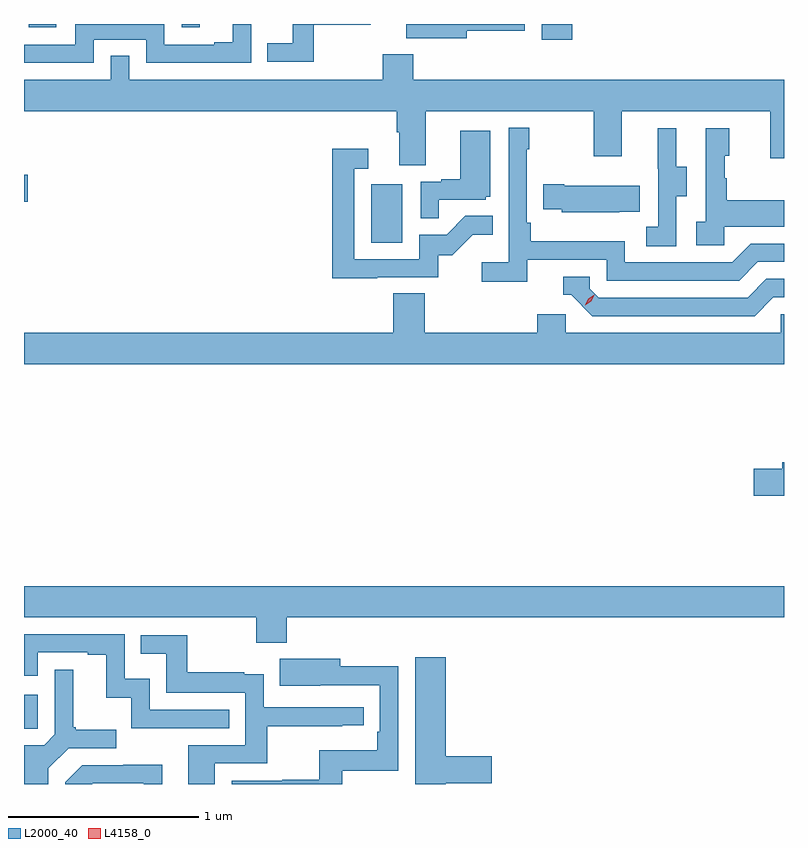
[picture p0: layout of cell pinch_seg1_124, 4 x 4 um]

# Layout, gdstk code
import gdstk
lib = gdstk.Library(unit=1e-6, precision=1e-09)
def R(c, l, rs):  # rectangles x0, y0, x1, y1
    for r in rs: c.add(gdstk.rectangle(r[:2], r[2:], *l))
def P(c, l, *ps):  # polygons
    for p in ps: c.add(gdstk.Polygon(p, *l))
L2000_40 = (2000, 40)
L4158_0 = (4158, 0)

pinch_seg1_124 = lib.new_cell('pinch_seg1_124')
R(pinch_seg1_124, L2000_40, [(1044.167,549.813,1044.24,549.993), (1045.994,552.372,1046.158,552.679), (1044.167,552.587,1044.187,552.729), (1046.891,553.44,1047.052,553.522), (1044.193,553.506,1044.337,553.522), (1044.996,553.506,1045.093,553.522)])
P(pinch_seg1_124, L2000_40, [(1046.497,553.486),(1046.802,553.486),(1046.802,553.522),(1046.179,553.522),(1046.179,553.448),(1046.497,553.448)],
  [(1044.534,553.44),(1044.81,553.44),(1044.81,553.317),(1045.362,553.317),(1045.362,553.522),(1045.265,553.522),(1045.265,553.426),(1045.169,553.426),(1045.169,553.413),(1044.906,553.413),(1044.906,553.522),(1044.438,553.522),(1044.438,553.413),(1044.167,553.413),(1044.167,553.317),(1044.534,553.317)],
  [(1045.693,553.518),(1045.991,553.518),(1045.991,553.522),(1045.582,553.522),(1045.582,553.42),(1045.447,553.42),(1045.447,553.323),(1045.693,553.323)],
  [(1046.281,553.064),(1047.166,553.064),(1047.166,552.825),(1047.313,552.825),(1047.313,553.064),(1048.094,553.064),(1048.094,552.816),(1048.167,552.816),(1048.167,553.228),(1046.216,553.228),(1046.216,553.363),(1046.055,553.363),(1046.055,553.228),(1044.72,553.228),(1044.72,553.355),(1044.624,553.355),(1044.624,553.228),(1044.167,553.228),(1044.167,553.064),(1046.129,553.064),(1046.129,552.952),(1046.141,552.952),(1046.141,552.778),(1046.281,552.778)],
  [(1046.816,552.282),(1047.234,552.282),(1047.234,552.171),(1047.931,552.171),(1048.03,552.27),(1048.167,552.27),(1048.167,552.366),(1047.993,552.366),(1047.894,552.267),(1047.33,552.267),(1047.33,552.379),(1046.834,552.379),(1046.834,552.475),(1046.814,552.475),(1046.814,552.863),(1046.827,552.863),(1046.827,552.976),(1046.718,552.976),(1046.718,552.268),(1046.577,552.268),(1046.577,552.166),(1046.816,552.166)],
  [(1047.852,552.455),(1048.167,552.455),(1048.167,552.595),(1047.865,552.595),(1047.865,552.71),(1047.855,552.71),(1047.855,552.828),(1047.88,552.828),(1047.88,552.973),(1047.756,552.973),(1047.756,552.482),(1047.705,552.482),(1047.705,552.357),(1047.852,552.357)],
  [(1047.6,552.616),(1047.655,552.616),(1047.655,552.771),(1047.601,552.771),(1047.601,552.973),(1047.503,552.973),(1047.503,552.759),(1047.504,552.759),(1047.504,552.455),(1047.441,552.455),(1047.441,552.352),(1047.6,552.352)],
  [(1046.351,552.597),(1046.598,552.597),(1046.598,552.612),(1046.62,552.612),(1046.62,552.961),(1046.462,552.961),(1046.462,552.706),(1046.363,552.706),(1046.363,552.693),(1046.256,552.693),(1046.256,552.499),(1046.351,552.499)],
  [(1046.027,552.189),(1046.346,552.189),(1046.346,552.306),(1046.422,552.306),(1046.529,552.413),(1046.633,552.413),(1046.633,552.512),(1046.489,552.512),(1046.391,552.414),(1046.247,552.414),(1046.247,552.285),(1045.905,552.285),(1045.905,552.759),(1045.978,552.759),(1045.978,552.865),(1045.789,552.865),(1045.789,552.184),(1046.027,552.184)],
  [(1047.299,552.533),(1047.407,552.533),(1047.407,552.67),(1047.01,552.67),(1047.01,552.678),(1046.899,552.678),(1046.899,552.548),(1046.997,552.548),(1046.997,552.53),(1047.299,552.53)],
  [(1048.111,552.084),(1048.167,552.084),(1048.167,552.18),(1048.074,552.18),(1047.975,552.081),(1047.192,552.081),(1047.144,552.129),(1047.144,552.192),(1047.005,552.192),(1047.005,552.096),(1047.048,552.096),(1047.159,551.985),(1048.012,551.985)],
  [(1048.167,551.994),(1048.149,551.994),(1048.149,551.896),(1047.018,551.896),(1047.018,551.994),(1046.867,551.994),(1046.867,551.896),(1046.276,551.896),(1046.276,552.104),(1046.111,552.104),(1046.111,551.896),(1044.167,551.896),(1044.167,551.732),(1048.167,551.732)],
  [(1048.167,551.216),(1048.157,551.216),(1048.157,551.18),(1048.008,551.18),(1048.008,551.038),(1048.167,551.038)],
  [(1045.55,550.4),(1048.167,550.4),(1048.167,550.564),(1044.167,550.564),(1044.167,550.4),(1045.39,550.4),(1045.39,550.265),(1045.55,550.265)],
  [(1045.247,549.912),(1044.828,549.912),(1044.828,550.075),(1044.696,550.075),(1044.696,550.311),(1044.167,550.311),(1044.167,550.092),(1044.24,550.092),(1044.24,550.215),(1044.503,550.215),(1044.503,550.203),(1044.599,550.203),(1044.599,549.977),(1044.732,549.977),(1044.732,549.816),(1045.247,549.816)],
  [(1045.171,549.63),(1045.448,549.63),(1045.448,549.826),(1045.841,549.826),(1045.841,549.831),(1045.954,549.831),(1045.954,549.927),(1045.428,549.927),(1045.428,550.099),(1045.325,550.099),(1045.325,550.111),(1045.027,550.111),(1045.027,550.305),(1044.781,550.305),(1044.781,550.208),(1044.916,550.208),(1044.916,550.002),(1045.332,550.002),(1045.332,549.726),(1045.031,549.726),(1045.031,549.522),(1045.171,549.522)],
  [(1046.386,549.526),(1046.629,549.526),(1046.629,549.668),(1046.386,549.668),(1046.386,550.189),(1046.225,550.189),(1046.225,549.522),(1046.386,549.522)],
  [(1045.843,549.591),(1046.136,549.591),(1046.136,550.142),(1045.831,550.142),(1045.831,550.18),(1045.513,550.18),(1045.513,550.04),(1045.727,550.04),(1045.727,550.041),(1046.04,550.041),(1046.04,549.796),(1046.027,549.796),(1046.027,549.7),(1045.722,549.7),(1045.722,549.545),(1045.525,549.545),(1045.525,549.54),(1045.26,549.54),(1045.26,549.522),(1045.843,549.522)],
  [(1044.295,549.604),(1044.402,549.711),(1044.652,549.711),(1044.652,549.808),(1044.439,549.808),(1044.439,549.82),(1044.427,549.82),(1044.427,550.123),(1044.33,550.123),(1044.33,549.783),(1044.273,549.726),(1044.167,549.726),(1044.167,549.522),(1044.295,549.522)],
  [(1044.528,549.525),(1044.798,549.525),(1044.798,549.522),(1044.895,549.522),(1044.895,549.623),(1044.69,549.623),(1044.69,549.621),(1044.474,549.621),(1044.384,549.531),(1044.384,549.522),(1044.525,549.522)])
P(pinch_seg1_124, L4158_0, [(1047.121,552.042),(1047.121,552.043),(1047.136,552.076),(1047.167,552.096),(1047.167,552.096),(1047.167,552.096),(1047.152,552.063),(1047.122,552.042)])

lib.write_gds('pinch_seg1_124.gds')
